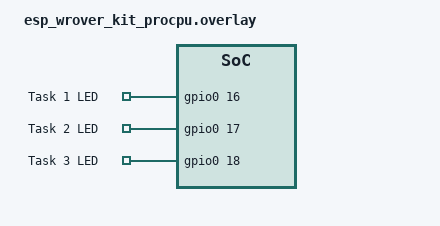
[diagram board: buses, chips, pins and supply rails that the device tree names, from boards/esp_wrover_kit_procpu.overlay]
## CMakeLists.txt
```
# SPDX-License-Identifier: Apache-2.0

cmake_minimum_required(VERSION 3.20.0)
find_package(Zephyr REQUIRED HINTS $ENV{ZEPHYR_BASE})
project(chatterbox)

target_sources(app PRIVATE src/main.c src/tasks.c)
```

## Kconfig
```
mainmenu "Chatterbox App"

config TASK1_PRIORITY
  int "Priority of Task 1" 
  default 0

config TASK1_PERIOD_MS
  int "Period of Task 1" 
  default 10000

config TASK1_EXECUTION_TIME_MS
  int "Period of Task 1" 
  default 1000

config TASK1_RELEASE_MS
  int "Period of Task 1" 
  default 0

config TASK2_PRIORITY
  int "Priority of Task 2" 
  default 0

config TASK2_PERIOD_MS
  int "Period of Task 2" 
  default 10000

config TASK2_EXECUTION_TIME_MS
  int "Period of Task 2" 
  default 1000

config TASK2_RELEASE_MS
  int "Period of Task 2" 
  default 0

config TASK3_PRIORITY
  int "Priority of Task 3" 
  default 0

config TASK3_PERIOD_MS
  int "Period of Task 3" 
  default 10000

config TASK3_EXECUTION_TIME_MS
  int "Period of Task 3" 
  default 1000

config TASK3_RELEASE_MS
  int "Period of Task 3" 
  default 0

source "Kconfig.zephyr"
```

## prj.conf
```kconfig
CONFIG_GPIO=y
CONFIG_BOOTLOADER_MCUBOOT=y

# TODO:
# Initialize parameters for task execution (see chatterbox/Kconfig)
# for Task 1 to Task 3. 

#Task 1 parameter
CONFIG_TASK1_PERIOD_MS=3000
CONFIG_TASK1_EXECUTION_TIME_MS=1000
CONFIG_TASK1_PRIORITY=1
CONFIG_TASK1_RELEASE_MS=1000

#Task 2 parameters
CONFIG_TASK2_PERIOD_MS=4000
CONFIG_TASK2_EXECUTION_TIME_MS=2000
CONFIG_TASK2_PRIORITY=2
CONFIG_TASK2_RELEASE_MS=0

#Task 3 parameters
CONFIG_TASK3_PERIOD_MS=6000
CONFIG_TASK3_EXECUTION_TIME_MS=1000
CONFIG_TASK3_PRIORITY=3
CONFIG_TASK3_RELEASE_MS=0
```

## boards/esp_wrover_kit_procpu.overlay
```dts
/**
* TODO: Extend device tree overlay so that
* the LEDs of the individual tasks are connected via
* - Task1: GPIO 16
* - Task2: GPIO 17
* - Task3: GPIO 18
*/


/ {
  custom_gpio {
    compatible = "gpio-keys";

    task1_led: task1_led {
      gpios = <&gpio0 16 GPIO_ACTIVE_HIGH>;
      label = "Task 1 LED";
    };

    task2_led: task2_led {
      gpios = <&gpio0 17 GPIO_ACTIVE_HIGH>;
      label = "Task 2 LED";
    };

    task3_led: task3_led {
      gpios = <&gpio0 18 GPIO_ACTIVE_HIGH>;
      label = "Task 3 LED";
    };
  };

  chosen {
    task1_led = &task1_led;
    task2_led = &task2_led;
    task3_led = &task3_led;
  };
};
```

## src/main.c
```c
#include <stdio.h>
#include <zephyr/kernel.h>

/**
 * @brief Print time every second.
 */
void print_time()
{
	static int time_sec = 0;
	printf("T = %ds:\n", time_sec);
	time_sec++;
}
K_TIMER_DEFINE(time_keeper, print_time, NULL);

int main()
{
	k_timer_start(&time_keeper, K_NO_WAIT, K_MSEC(1000));

	return 0;
}
```

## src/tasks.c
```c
#include "tasks.h"
#include <assert.h>
#include <stdio.h>

/**
 * @brief TODO: Let LED blink for (roughly) delay_ms.
 *
 * @param led	    LED device.
 * @param delay_ms  Delay in milliseconds. Must be a multiple of
 *		    BLINK_PERIOD_MS.
 */
void useless_load(int task_id, const struct gpio_dt_spec *led, int32_t delay_ms)
{
	assert(delay_ms % BLINK_PERIOD_MS == 0 && BLINK_PERIOD_MS % 2 == 0);

	// Let LED blink for (roughly) delay_ms
	for (int32_t d = 0; d < delay_ms; d += BLINK_PERIOD_MS) {
		printf(" Task %d\n", task_id);

		/** Modify this method so that *led* is blinking while this loop is
		 * executed. Afterwards, the LED should be in the OFF state. */
		gpio_pin_set_dt(led, 1);
		k_busy_wait(BLINK_PERIOD_MS * 500);
		gpio_pin_set_dt(led, 0);
		k_busy_wait(BLINK_PERIOD_MS * 500);
	}
	gpio_pin_set_dt(led, 0);
}

/**
 * @brief TODO: Implementation of the chatterbox task
 */
void chatterbox_task(struct task_params *params)
{	
	const struct gpio_dt_spec *led = params->led;
	gpio_pin_configure_dt(led, GPIO_OUTPUT_ACTIVE);
	// Initialize LED to OFF state
	gpio_pin_set_dt(led, 0);
	k_timer_start(params->timer, K_MSEC(params->period_ms), K_MSEC(params->period_ms));
	
	while (1) {
		// Execute the task
		useless_load(params->task_id, params->led, params->execution_time_ms);
		k_timer_status_sync(params->timer);
	}
}


/** Task Initialization macros — will hook these tasks properly */
INITIALIZE_TASK(1);
INITIALIZE_TASK(2);
INITIALIZE_TASK(3);
```

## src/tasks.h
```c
#pragma once

#include <zephyr/drivers/gpio.h>
#include <zephyr/kernel.h>

#define STACKSIZE       1024
#define BLINK_PERIOD_MS 250

struct task_params {
	int task_id;
	const struct gpio_dt_spec *led;
	int32_t execution_time_ms;
	int32_t period_ms;
	struct k_timer *timer;
};

/**
 * @brief TODO: Implementation of the chatterbox task, see tasks.c
 */
void chatterbox_task(struct task_params *params);

/**
 * @brief Macro for initializing Task 1 to Task 3.
 *
 * This assumes that the device tree overlay and Kconfig are already
 * set up correctly. In particular, *INITIALIZE_TASK(1);* requires
 * boards/esp_wrover_kit_procpu.overlay:
 *  - DT_CHOSEN(task1_led)
 * Kconfig:
 *  - CONFIG_TASK1_PERIOD_MS
 *  - CONFIG_TASK1_EXECUTION_TIME_MS
 *  - CONFIG_TASK1_PRIORITY
 *  - CONFIG_TASK1_RELEASE_MS
 */
#define INITIALIZE_TASK(n)                                                                         \
	static const struct gpio_dt_spec task##n##_led =                                           \
		GPIO_DT_SPEC_GET(DT_CHOSEN(task##n##_led), gpios);                                 \
	K_TIMER_DEFINE(task##n##_timer, NULL, NULL);                                               \
	static const struct task_params task##n##_params = {                                       \
		.task_id = n,                                                                      \
		.led = &task##n##_led,                                                             \
		.period_ms = CONFIG_TASK##n##_PERIOD_MS,                                           \
		.execution_time_ms = CONFIG_TASK##n##_EXECUTION_TIME_MS,                           \
		.timer = &task##n##_timer,                                                         \
	};                                                                                         \
	K_THREAD_DEFINE(task##n##_id, STACKSIZE, chatterbox_task, &task##n##_params, NULL, NULL,   \
			CONFIG_TASK##n##_PRIORITY, 0, CONFIG_TASK##n##_RELEASE_MS);
```
